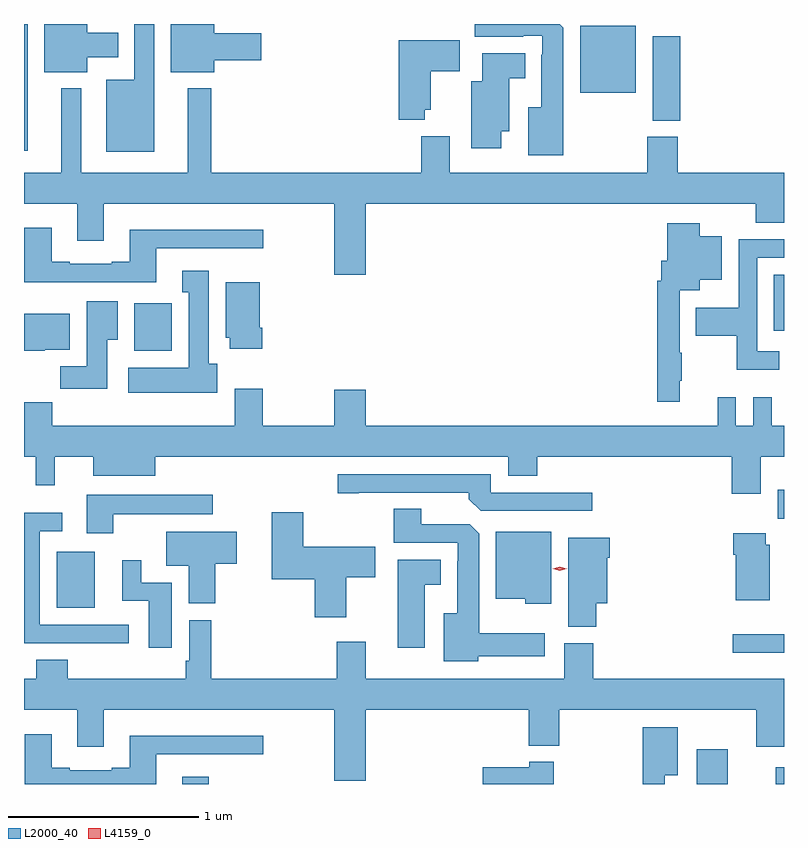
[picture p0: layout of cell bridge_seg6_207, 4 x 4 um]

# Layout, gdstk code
import gdstk
lib = gdstk.Library(unit=1e-6, precision=1e-09)
def R(c, l, rs):  # rectangles x0, y0, x1, y1
    for r in rs: c.add(gdstk.rectangle(r[:2], r[2:], *l))
def P(c, l, *ps):  # polygons
    for p in ps: c.add(gdstk.Polygon(p, *l))
L2000_40 = (2000, 40)
L4159_0 = (4159, 0)

bridge_seg6_207 = lib.new_cell('bridge_seg6_207')
R(bridge_seg6_207, L2000_40, [(152.219,977.582,152.359,977.62), (154.928,977.582,155.089,977.764), (155.342,977.582,155.386,977.671), (155.115,978.272,155.386,978.369), (151.559,978.509,151.759,978.805), (155.354,978.978,155.386,979.132), (151.967,979.862,152.163,980.113), (155.333,979.967,155.386,980.263), (151.386,980.915,151.405,981.582), (154.694,981.073,154.841,981.517), (154.313,981.221,154.606,981.574)])
P(bridge_seg6_207, L2000_40, [(152.071,981.582),(151.967,981.582),(151.967,981.289),(151.82,981.289),(151.82,980.909),(152.071,980.909)],
  [(154.225,981.563),(154.206,981.582),(153.758,981.582),(153.758,981.515),(154.013,981.515),(154.013,981.519),(154.113,981.519),(154.113,981.419),(154.109,981.419),(154.109,981.145),(154.04,981.145),(154.04,980.891),(154.225,980.891)],
  [(151.72,981.407),(151.882,981.407),(151.882,981.537),(151.72,981.537),(151.72,981.582),(151.493,981.582),(151.493,981.329),(151.72,981.329)],
  [(152.386,981.392),(152.635,981.392),(152.635,981.534),(152.386,981.534),(152.386,981.582),(152.159,981.582),(152.159,981.329),(152.386,981.329)],
  [(153.496,981.131),(153.526,981.131),(153.526,981.334),(153.679,981.334),(153.679,981.496),(153.359,981.496),(153.359,981.077),(153.496,981.077)],
  [(153.898,981.017),(153.94,981.017),(153.94,981.296),(154.024,981.296),(154.024,981.427),(153.797,981.427),(153.797,981.28),(153.74,981.28),(153.74,980.928),(153.898,980.928)],
  [(153.184,980.636),(155.237,980.636),(155.237,980.537),(155.386,980.537),(155.386,980.8),(154.826,980.8),(154.826,980.988),(154.666,980.988),(154.666,980.8),(153.628,980.8),(153.628,980.992),(153.476,980.992),(153.476,980.8),(152.371,980.8),(152.371,981.244),(152.249,981.244),(152.249,980.8),(151.687,980.8),(151.687,981.244),(151.583,981.244),(151.583,980.8),(151.386,980.8),(151.386,980.636),(151.667,980.636),(151.667,980.442),(151.807,980.442),(151.807,980.636),(153.02,980.636),(153.02,980.262),(153.184,980.262)],
  [(154.838,979.705),(154.849,979.705),(154.849,979.853),(154.836,979.853),(154.836,980.18),(154.942,980.18),(154.942,980.237),(155.059,980.237),(155.059,980.464),(154.942,980.464),(154.942,980.533),(154.772,980.533),(154.772,980.335),(154.74,980.335),(154.74,980.231),(154.72,980.231),(154.72,979.593),(154.838,979.593)],
  [(151.619,980.223),(152.083,980.223),(152.083,980.403),(152.644,980.403),(152.644,980.5),(151.943,980.5),(151.943,980.332),(151.847,980.332),(151.847,980.319),(151.627,980.319),(151.627,980.332),(151.531,980.332),(151.531,980.509),(151.386,980.509),(151.386,980.222),(151.619,980.222)],
  [(155.362,979.86),(155.244,979.86),(155.244,980.352),(155.386,980.352),(155.386,980.448),(155.148,980.448),(155.148,980.089),(154.921,980.089),(154.921,979.942),(155.136,979.942),(155.136,979.763),(155.362,979.763)],
  [(152.404,979.794),(152.359,979.794),(152.359,980.284),(152.219,980.284),(152.219,980.171),(152.252,980.171),(152.252,979.774),(151.935,979.774),(151.935,979.64),(152.404,979.64)],
  [(152.639,979.984),(152.626,979.984),(152.626,980.224),(152.447,980.224),(152.447,979.932),(152.468,979.932),(152.468,979.872),(152.639,979.872)],
  [(151.825,979.921),(151.879,979.921),(151.879,980.122),(151.715,980.122),(151.715,979.78),(151.576,979.78),(151.576,979.662),(151.825,979.662)],
  [(151.494,979.868),(151.627,979.868),(151.627,980.056),(151.386,980.056),(151.386,979.862),(151.494,979.862)],
  [(155.263,979.304),(155.386,979.304),(155.386,979.468),(155.321,979.468),(155.321,979.618),(155.223,979.618),(155.223,979.468),(155.133,979.468),(155.133,979.618),(155.036,979.618),(155.036,979.468),(153.184,979.468),(153.184,979.657),(153.02,979.657),(153.02,979.468),(152.643,979.468),(152.643,979.663),(152.495,979.663),(152.495,979.468),(151.535,979.468),(151.535,979.592),(151.386,979.592),(151.386,979.304),(151.449,979.304),(151.449,979.155),(151.547,979.155),(151.547,979.304),(151.751,979.304),(151.751,979.205),(152.077,979.205),(152.077,979.304),(153.935,979.304),(153.935,979.205),(154.088,979.205),(154.088,979.304),(155.111,979.304),(155.111,979.11),(155.263,979.11)],
  [(154.378,979.116),(153.843,979.116),(153.843,979.212),(153.036,979.212),(153.036,979.111),(153.148,979.111),(153.148,979.116),(153.728,979.116),(153.728,979.082),(153.789,979.02),(154.378,979.02)],
  [(151.855,979.001),(152.38,979.001),(152.38,979.105),(151.715,979.105),(151.715,978.903),(151.855,978.903)],
  [(153.777,978.254),(154.126,978.254),(154.126,978.376),(153.781,978.376),(153.781,978.899),(153.732,978.948),(153.478,978.948),(153.478,979.031),(153.331,979.031),(153.331,978.852),(153.669,978.852),(153.669,978.755),(153.665,978.755),(153.665,978.481),(153.596,978.481),(153.596,978.227),(153.777,978.227)],
  [(153.082,978.67),(153.235,978.67),(153.235,978.832),(152.856,978.832),(152.856,979.012),(152.69,979.012),(152.69,978.659),(152.915,978.659),(152.915,978.459),(153.082,978.459)],
  [(151.936,978.42),(151.47,978.42),(151.47,978.912),(151.588,978.912),(151.588,979.009),(151.386,979.009),(151.386,978.324),(151.699,978.324),(151.699,978.323),(151.936,978.323)],
  [(154.162,978.91),(153.869,978.91),(153.869,978.557),(154.023,978.557),(154.023,978.53),(154.162,978.53)],
  [(152.392,978.74),(152.506,978.74),(152.506,978.91),(152.135,978.91),(152.135,978.731),(152.252,978.731),(152.252,978.534),(152.392,978.534)],
  [(155.311,978.84),(155.29,978.84),(155.29,978.901),(155.12,978.901),(155.12,978.788),(155.132,978.788),(155.132,978.548),(155.311,978.548)],
  [(154.397,978.533),(154.456,978.533),(154.456,978.773),(154.469,978.773),(154.469,978.877),(154.25,978.877),(154.25,978.409),(154.397,978.409)],
  [(153.496,978.632),(153.58,978.632),(153.58,978.763),(153.353,978.763),(153.353,978.3),(153.496,978.3)],
  [(152.164,978.642),(152.002,978.642),(152.002,978.76),(151.904,978.76),(151.904,978.546),(152.042,978.546),(152.042,978.3),(152.164,978.3)],
  [(151.451,978.235),(151.451,978.136),(151.386,978.136),(151.386,977.972),(151.667,977.972),(151.667,977.778),(151.807,977.778),(151.807,977.972),(153.02,977.972),(153.02,977.598),(153.184,977.598),(153.184,977.972),(154.043,977.972),(154.043,977.783),(154.203,977.783),(154.203,977.972),(155.24,977.972),(155.24,977.778),(155.386,977.778),(155.386,978.136),(154.382,978.136),(154.382,978.324),(154.229,978.324),(154.229,978.136),(153.184,978.136),(153.184,978.331),(153.032,978.331),(153.032,978.136),(152.372,978.136),(152.372,978.445),(152.256,978.445),(152.256,978.232),(152.236,978.232),(152.236,978.136),(151.616,978.136),(151.616,978.235)],
  [(154.759,977.627),(154.828,977.627),(154.828,977.881),(154.643,977.881),(154.643,977.582),(154.759,977.582)],
  [(152.083,977.739),(152.644,977.739),(152.644,977.836),(151.943,977.836),(151.943,977.668),(151.847,977.668),(151.847,977.655),(151.627,977.655),(151.627,977.668),(151.531,977.668),(151.531,977.845),(151.391,977.845),(151.391,977.582),(152.083,977.582)],
  [(154.174,977.698),(154.044,977.698),(154.044,977.671),(153.8,977.671),(153.8,977.582),(154.174,977.582)])
P(bridge_seg6_207, L4159_0, [(154.206,978.705),(154.17,978.715),(154.169,978.715),(154.17,978.715),(154.206,978.725),(154.243,978.715),(154.243,978.715),(154.243,978.715)])

lib.write_gds('bridge_seg6_207.gds')
